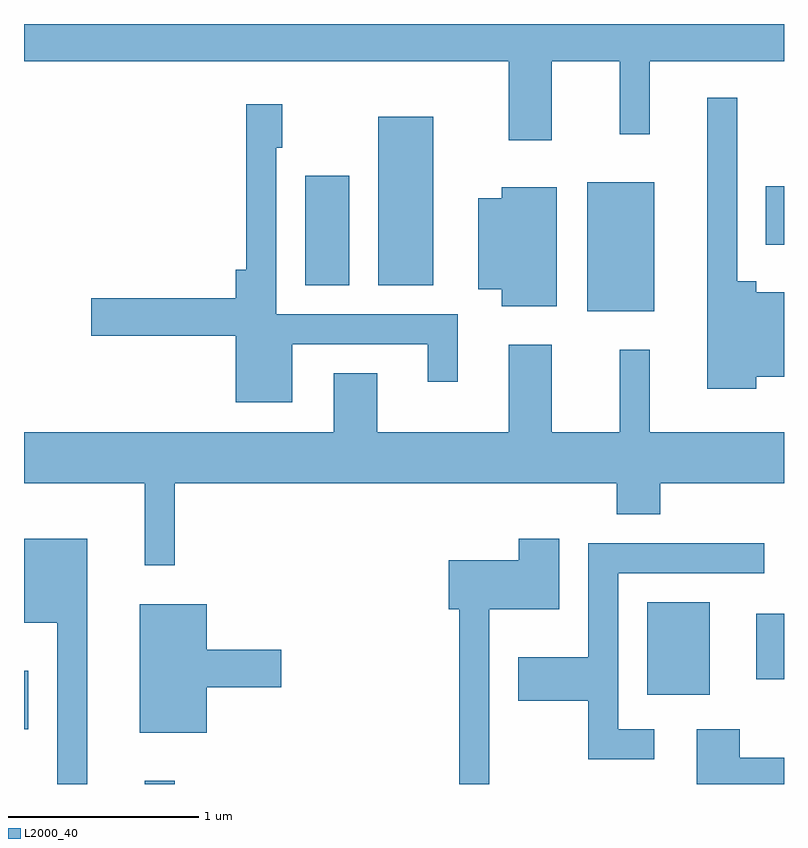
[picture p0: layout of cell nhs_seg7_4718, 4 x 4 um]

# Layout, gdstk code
import gdstk
lib = gdstk.Library(unit=1e-6, precision=1e-09)
def R(c, l, rs):  # rectangles x0, y0, x1, y1
    for r in rs: c.add(gdstk.rectangle(r[:2], r[2:], *l))
def P(c, l, *ps):  # polygons
    for p in ps: c.add(gdstk.Polygon(p, *l))
L2000_40 = (2000, 40)

nhs_seg7_4718 = lib.new_cell('nhs_seg7_4718')
R(nhs_seg7_4718, L2000_40, [(330.246,1748.252,330.404,1748.268), (329.611,1748.541,329.634,1748.849), (332.891,1748.721,333.219,1749.209), (333.466,1748.803,333.611,1749.149), (332.576,1750.741,332.929,1751.419), (331.091,1750.876,331.324,1751.454), (331.476,1750.876,331.764,1751.764), (333.516,1751.091,333.611,1751.399)])
P(nhs_seg7_4718, L2000_40, [(332.389,1752.056),(332.746,1752.056),(332.746,1751.673),(332.904,1751.673),(332.904,1752.056),(333.611,1752.056),(333.611,1752.252),(329.611,1752.252),(329.611,1752.056),(332.161,1752.056),(332.161,1751.641),(332.389,1751.641)],
  [(333.464,1750.396),(333.611,1750.396),(333.611,1750.839),(333.464,1750.839),(333.464,1750.899),(333.364,1750.899),(333.364,1751.863),(333.206,1751.863),(333.206,1750.331),(333.464,1750.331)],
  [(331.024,1750.566),(331.736,1750.566),(331.736,1750.368),(331.894,1750.368),(331.894,1750.724),(330.939,1750.724),(330.939,1751.601),(330.969,1751.601),(330.969,1751.829),(330.781,1751.829),(330.781,1750.959),(330.726,1750.959),(330.726,1750.809),(329.966,1750.809),(329.966,1750.611),(330.726,1750.611),(330.726,1750.261),(331.024,1750.261)],
  [(332.414,1751.394),(332.126,1751.394),(332.126,1751.334),(332.001,1751.334),(332.001,1750.856),(332.126,1750.856),(332.126,1750.766),(332.414,1750.766)],
  [(330.404,1749.836),(332.731,1749.836),(332.731,1749.671),(332.959,1749.671),(332.959,1749.836),(333.611,1749.836),(333.611,1750.104),(332.904,1750.104),(332.904,1750.538),(332.746,1750.538),(332.746,1750.104),(332.389,1750.104),(332.389,1750.564),(332.161,1750.564),(332.161,1750.104),(331.469,1750.104),(331.469,1750.414),(331.241,1750.414),(331.241,1750.104),(329.611,1750.104),(329.611,1749.836),(330.246,1749.836),(330.246,1749.403),(330.404,1749.403)],
  [(329.944,1749.544),(329.611,1749.544),(329.611,1749.101),(329.786,1749.101),(329.786,1748.252),(329.944,1748.252)],
  [(332.059,1749.171),(332.429,1749.171),(332.429,1749.544),(332.216,1749.544),(332.216,1749.429),(331.846,1749.429),(331.846,1749.171),(331.901,1749.171),(331.901,1748.252),(332.059,1748.252)],
  [(332.928,1748.539),(332.739,1748.539),(332.739,1749.361),(333.508,1749.361),(333.508,1749.519),(332.581,1749.519),(332.581,1748.919),(332.211,1748.919),(332.211,1748.691),(332.581,1748.691),(332.581,1748.381),(332.928,1748.381)],
  [(330.574,1748.761),(330.964,1748.761),(330.964,1748.959),(330.574,1748.959),(330.574,1749.199),(330.221,1749.199),(330.221,1748.521),(330.574,1748.521)],
  [(333.611,1748.389),(333.379,1748.389),(333.379,1748.539),(333.151,1748.539),(333.151,1748.252),(333.611,1748.252)])

lib.write_gds('nhs_seg7_4718.gds')
